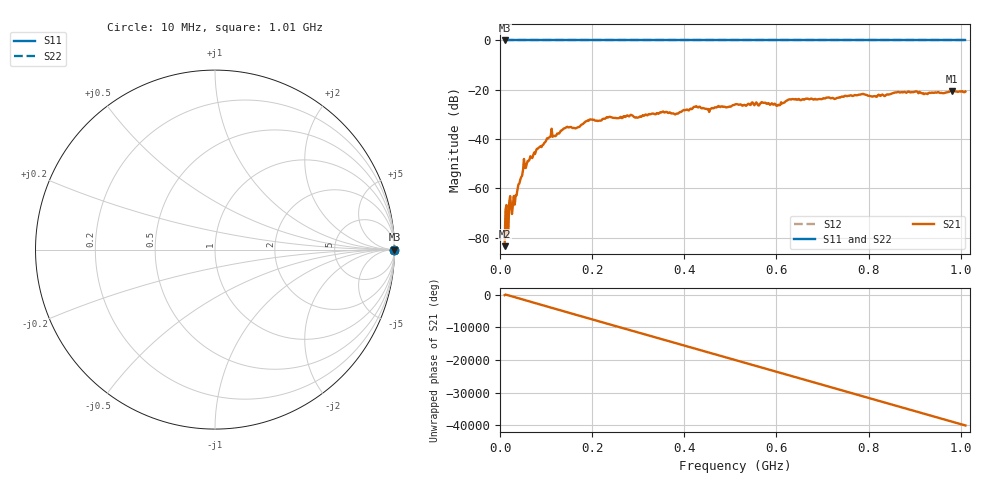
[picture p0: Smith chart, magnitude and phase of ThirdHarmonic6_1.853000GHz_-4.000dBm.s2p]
! 8/16/2025 10:24:54 PM
! C:\ANRITSUVNA\TEMP\TEMP.S2P
! CHANNEL.1
! TR.MEASUREMENT
! RAW.DATA
! RF.CORRECTION.OFF
! AVERAGING.OFF
! IF.BANDWIDTH: 5KHZ
! SWEEPTYPE:  FREQ.SWEEP(Linear)
! Reference Plane Port Info
! PORT:  PORT1  PORT2
! DISTANCE:  0  m  0  m
! TIME:  0  s  0  s
! PHASE.OFFSET:  0  deg.  0  deg.
! LOSS:  0  dB  0  dB
! REF.LOSS:  0  dB  0  dB
! REF.FREQ:  0  Hz  0  Hz
! Power Info
! POWER:  -20  dBm  -20  dBm
! EFF.POWER:  -20  dBm  -20  dBm
! SOURCE.ATTEN:  0  dB  0  dB
! TEST.ATTEN:  0  dB  0  dB
# GHZ S RI R 50.0
! FREQ.GHZ  S11RE  S11IM  S21RE  S21IM  S12RE  S12IM  S22RE  S22IM
!; PortSelection: Port_12
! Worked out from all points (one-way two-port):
!   501 points, 10 MHz to 1.01 GHz, reference 50 ohm
!   highest |S21| = -20.45 dB at 980 MHz (marker M1); lowest = -83.4 dB at 10 MHz (marker M2)
!   lowest |S11| = 0.0 dB at 10 MHz (marker M3)
!   |S11| at or under -10 dB: nowhere
!   |S22| runs from 0.0 to 0.0 dB; largest |S21 - S12| = 1.1
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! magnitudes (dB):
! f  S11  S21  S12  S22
! 10 MHz  0.0  -83.4  0.0  0.0
! 14 MHz  0.0  -66.7  0.0  0.0
! 16 MHz  0.0  -79.4  0.0  0.0
! 20 MHz  0.0  -65.7  0.0  0.0
! 24 MHz  0.0  -67.2  0.0  0.0
! 30 MHz  0.0  -63.1  0.0  0.0
! 48 MHz  0.0  -54.8  0.0  0.0
! 64 MHz  0.0  -48.3  0.0  0.0
! 108 MHz  0.0  -39.2  0.0  0.0
! 178 MHz  0.0  -34.0  0.0  0.0
! 198 MHz  0.0  -32.1  0.0  0.0
! 344 MHz  0.0  -29.7  0.0  0.0
! 382 MHz  0.0  -29.8  0.0  0.0
! 424 MHz  0.0  -26.9  0.0  0.0
! 454 MHz  0.0  -29.0  0.0  0.0
! 510 MHz  0.0  -26.0  0.0  0.0
! 604 MHz  0.0  -26.1  0.0  0.0
! 630 MHz  0.0  -23.9  0.0  0.0
! 678 MHz  0.0  -23.7  0.0  0.0
! 844 MHz  0.0  -21.9  0.0  0.0
! 980 MHz  0.0  -20.4  0.0  0.0
! 1.01 GHz  0.0  -20.7  0.0  0.0
